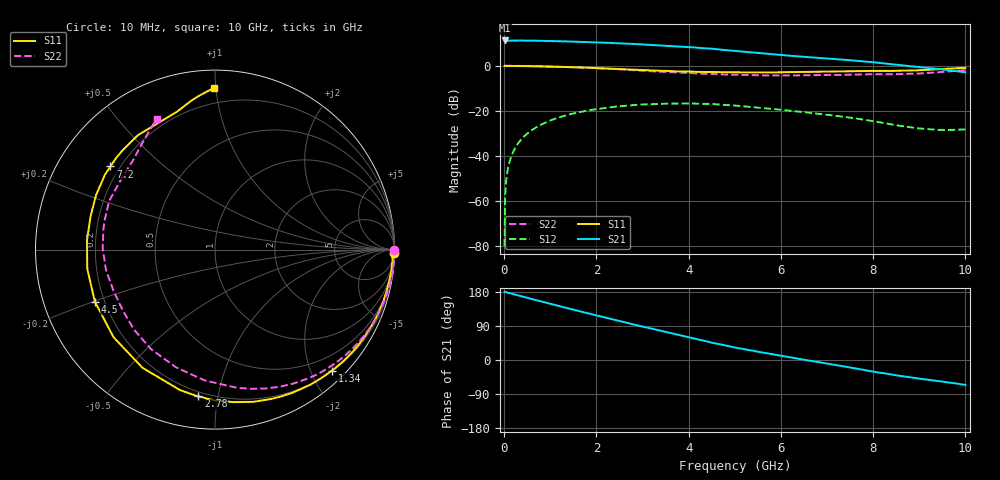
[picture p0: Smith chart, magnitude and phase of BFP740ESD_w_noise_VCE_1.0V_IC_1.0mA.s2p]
! Infineon Technologies  Discrete & RF Semiconductors
! BFP740ESD
! VCE =  1.0 V,  IC =  1.0 mA
! Common Emitter S-Parameters:  Jan 2016
# GHz  S  MA  R  50
!  f  S11  S21  S12  S22
! GHz  MAG  ANG  MAG  ANG  MAG  ANG  MAG  ANG
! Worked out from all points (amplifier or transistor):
!   233 points, 10 MHz to 10 GHz, reference 50 ohm
!   highest |S21| = 11.2 dB at 10 MHz (marker M1)
!   |S21| within 3 dB of that: start of sweep to 4.062 GHz
!   unconditionally stable (mu >= 1): 7.475 GHz to 9.859 GHz
!   at 200 MHz: K = 0.02, MSG = 24.6 dB, |S12| = -38.0 dB
!   at 1.74 GHz: K = 0.15, MSG = 15.3 dB, |S12| = -20.1 dB
!   at 10 GHz: K = 0.75, MSG = 12.7 dB, |S12| = -28.2 dB
!   lowest NFmin = 0.56 dB at 450 MHz
!   S11 on the Smith chart (normalised r, x): 10 MHz: -0, -95; 1.34 GHz: 0.21, -2.34; 2.78 GHz: 0.17, -0.88; 4.5 GHz: 0.16, -0.20; 7.2 GHz: 0.16, +0.34; 10 GHz: 0.10, +0.99
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0.01  1 -1.2  3.642 179.8  0.0001 -136.1  0.9989 0.0
0.015  0.9936 -1.1  3.603 179.8  0.0005 87.6  0.9993 -0.3
0.02  0.9872 -0.9  3.565 179.9  0.0011 84.0  0.9997 -0.5
0.04  0.9882 -1.4  3.58 178.9  0.0026 87.3  0.9997 -1.1
0.095  0.9909 -3.3  3.61 177.1  0.006 87.7  0.9991 -2.6
0.19  0.9894 -6.5  3.623 174.1  0.012 84.7  0.9982 -5.1
0.34  0.9846 -11.6  3.625 169.3  0.0214 80.6  0.995 -9.2
0.58  0.9775 -19.8  3.604 161.6  0.0362 73.8  0.9867 -15.7
1  0.959 -34.2  3.547 148.5  0.0611 62.2  0.9659 -27.0
1.34  0.9374 -46.0  3.471 137.8  0.0795 52.6  0.9427 -36.3
1.68  0.9138 -57.7  3.389 127.3  0.0959 43.4  0.9151 -45.4
2.2  0.8749 -75.7  3.243 111.9  0.117 29.8  0.8668 -59.2
2.78  0.8229 -96.5  3.057 94.6  0.1342 14.6  0.8023 -75.1
3.4  0.7732 -118.0  2.818 77.0  0.1428 -0.9  0.7371 -91.7
4  0.7469 -139.2  2.614 60.0  0.1462 -15.0  0.6907 -108.4
4.5  0.7295 -156.6  2.389 45.7  0.1422 -26.9  0.6591 -122.8
5.1  0.7159 -173.9  2.087 30.9  0.1288 -39.1  0.6289 -137.5
6  0.7176 165.1  1.733 11.1  0.1057 -53.5  0.6102 -158.2
6.8  0.7342 149.5  1.499 -5.2  0.0865 -62.1  0.6198 -176.2
7.2  0.7444 141.5  1.398 -13.4  0.0774 -65.4  0.6266 174.7
8.4  0.7704 115.9  1.082 -38.4  0.0501 -68.5  0.65 146.3
10  0.9019 90.3  0.716 -65.8  0.0387 -41.3  0.7995 114.0
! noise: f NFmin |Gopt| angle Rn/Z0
0.45  0.56  0.79  8  0.39
0.9  0.61  0.78  20  0.38
1.9  0.75  0.68  46  0.32
2.4  0.9  0.65  62  0.33
5.5  1.73  0.49  162  0.1
